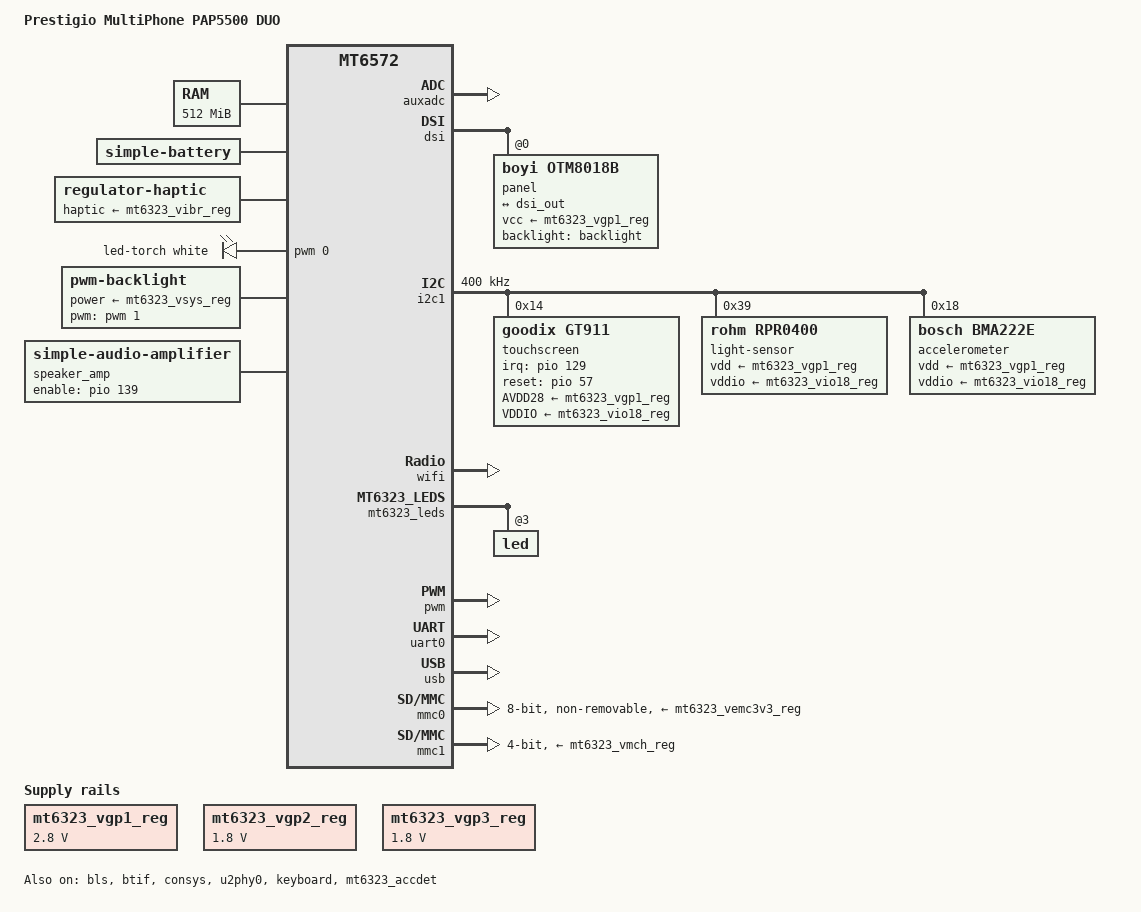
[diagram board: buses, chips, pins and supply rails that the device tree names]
// SPDX-License-Identifier: GPL-2.0
/*
 * Copyright (c) 2026 Custom Firmware <gabin278@gmail.com>
 */

/dts-v1/;
#include <dt-bindings/gpio/gpio.h>
#include <dt-bindings/input/input.h>
#include <dt-bindings/leds/common.h>
#include "mt6572.dtsi"
#include "mt6323.dtsi"

/ {
	model = "Prestigio MultiPhone PAP5500 DUO";
	compatible = "prestigio,pap5500-duo", "mediatek,mt6572";

	aliases {
		serial0 = &uart0;
	};

	chosen {
		stdout-path = "serial0:921600n8";
	};

	memory@80000000 {
		device_type = "memory";
		reg = <0x80000000 0x20000000>;
	};

	reserved-memory {
		#address-cells = <1>;
		#size-cells = <1>;
		ranges;

		framebuffer_reserved: framebuffer@9f800000 {
			reg = <0x9f800000 0x800000>;
			no-map;
		};

		connsys@80000000 {
			reg = <0x80000000 0x100000>;
			no-map;
		};
	};

	battery: battery {
		compatible = "simple-battery";
		charge-full-design-microamp-hours = <2000000>;
		voltage-max-design-microvolt = <4200000>;
		voltage-min-design-microvolt = <3300000>;
		ocv-capacity-celsius = <25>;
		ocv-capacity-table-0 = <4189000 100>, <4107000  95>,
				       <4063000  90>, <4018000  85>,
				       <3975000  80>, <3937000  75>,
				       <3907000  70>, <3871000  65>,
				       <3843000  60>, <3810000  55>,
				       <3787000  50>, <3781000  45>,
				       <3777000  40>, <3772000  35>,
				       <3753000  30>, <3719000  25>,
				       <3671000  20>, <3596000  15>,
				       <3536000  10>, <3493000   5>,
				       <3419000   0>;
	};

	haptic {
		compatible = "regulator-haptic";
		haptic-supply = <&mt6323_vibr_reg>;
		min-microvolt = <1200000>;
		max-microvolt = <3300000>;
	};

	pwm-leds {
		compatible = "pwm-leds";
		pinctrl-0 = <&flash_pins>;
		pinctrl-names = "default";

		led-torch {
			function = LED_FUNCTION_TORCH;
			color = <LED_COLOR_ID_WHITE>;
			pwms = <&pwm 0 31250>;
			max-brightness = <255>;
		};
	};

	backlight: backlight {
		compatible = "pwm-backlight";
		pwms = <&pwm 1 31250>;
		brightness-levels = <0 1023>;
		num-interpolated-steps = <1023>;
		default-brightness-level = <512>;
		power-supply = <&mt6323_vsys_reg>;
	};
};

&auxadc {
	status = "okay";
};

&bls {
	status = "okay";
};

&dsi {
	#address-cells = <1>;
	#size-cells = <0>;
	status = "okay";

	panel@0 {
		compatible = "boyi,otm8018b";
		reg = <0>;
		vcc-supply = <&mt6323_vgp1_reg>;
		backlight = <&backlight>;

		port {
			panel_in: endpoint {
				remote-endpoint = <&dsi_out>;
			};
		};
	};
};

&dsi_out {
	remote-endpoint = <&panel_in>;
};

&cpu0 {
	proc-supply = <&mt6323_vproc_reg>;
};

&cpu1 {
	proc-supply = <&mt6323_vproc_reg>;
};

&gpu {
	/* Switch to WHPLL */
	assigned-clocks = <&topckgen CLK_TOP_MFG_SEL>,
			  <&topckgen CLK_TOP_MFG_PRE_SEL>;
	assigned-clock-parents = <&topckgen CLK_TOP_MFG_PRE_500M>,
				 <&topckgen CLK_TOP_MFG_SEL>;

	operating-points-v2 = <&gpu_opp_table>;
};

&i2c1 {
	pinctrl-0 = <&i2c1_pins>;
	pinctrl-names = "default";
	clock-frequency = <400000>;
	status = "okay";

	/*
	 * The GT911 latches its I2C address from the INT pin level while
	 * reset is released: low selects 0x5d, high selects 0x14. INT is
	 * muxed to EINT1 here, and mtk_gpio_direction_output() only touches
	 * the GPIO DIR/DOUT registers without changing the pin mode, so the
	 * driver cannot drive the pad - the bias-pull-up below wins and the
	 * controller always comes up at 0x14. Address it where it actually
	 * is; verified by reading "915" from the product-id register 0x8140.
	 */
	touchscreen@14 {
		status = "okay";
		compatible = "goodix,gt911";
		reg = <0x14>;

		/*
		 * No interrupt: the INT pin has to stay a plain GPIO so the
		 * driver can drive it, see tpd_pins. Without a DT interrupt
		 * goodix falls back to input_setup_polling(), which is how
		 * this panel has always run here.
		 */
		irq-gpios = <&pio 129 GPIO_ACTIVE_HIGH>;
		reset-gpios = <&pio 57 GPIO_ACTIVE_HIGH>;

		AVDD28-supply = <&mt6323_vgp1_reg>;
		VDDIO-supply = <&mt6323_vio18_reg>;

		touchscreen-size-x = <480>;
		touchscreen-size-y = <854>;
		touchscreen-inverted-x;

		pinctrl-0 = <&tpd_pins>;
		pinctrl-names = "default";
	};

	light-sensor@39 {
		compatible = "rohm,rpr0400";
		reg = <0x39>;
		vdd-supply = <&mt6323_vgp1_reg>;
		vddio-supply = <&mt6323_vio18_reg>;
	};

	accelerometer@18 {
		compatible = "bosch,bma222e";
		reg = <0x18>;
		vdd-supply = <&mt6323_vgp1_reg>;
		vddio-supply = <&mt6323_vio18_reg>;
	};
};

&mt6323_vgp1_reg {
	regulator-min-microvolt = <2800000>;
	regulator-max-microvolt = <2800000>;
};

&mt6323_vgp2_reg {
	regulator-min-microvolt = <1800000>;
	regulator-max-microvolt = <1800000>;
	regulator-always-on;
	regulator-boot-on;
};

&mt6323_vgp3_reg {
	regulator-min-microvolt = <1800000>;
	regulator-max-microvolt = <1800000>;
	regulator-always-on;
	regulator-boot-on;
};

&btif {
	status = "okay";
};

&consys {
	vcn18-supply = <&mt6323_vcn18_reg>;
	vcn28-supply = <&mt6323_vcn28_reg>;
	vcn33_bt-supply = <&mt6323_vcn33_bt_reg>;
	vcn33_wifi-supply = <&mt6323_vcn33_wifi_reg>;
	status = "okay";
};

&wifi {
	status = "okay";
};

&mt6323keys {
	power-off-time-sec = <5>;
	home {
		status = "disabled";
	};
};

&mt6323_leds {
	status = "okay";

	led@3 {
		reg = <3>;
		function = LED_FUNCTION_KBD_BACKLIGHT;
		color = <LED_COLOR_ID_WHITE>;
		default-state = "off";
	};
};

/ {
	/* speaker amplifier (Yamaha YDA145), fed from the codec HP output */
	speaker_amp: audio-amplifier {
		compatible = "simple-audio-amplifier";
		pinctrl-names = "default";
		pinctrl-0 = <&speaker_amplifier_pins>;
		enable-gpios = <&pio 139 GPIO_ACTIVE_HIGH>;
		sound-name-prefix = "Speaker Amp";
	};

	sound {
		compatible = "mediatek,mt6572-mt6323-sound";
		mediatek,platform = <&afe>;
		aux-devs = <&speaker_amp>;
		audio-routing =
			"Speaker Amp INL", "HP Driver",
			"Speaker Amp INR", "HP Driver",
			"Speaker", "Speaker Amp OUTL",
			"Speaker", "Speaker Amp OUTR";
		mediatek,accdet = <&mt6323_accdet>;
	};
};

&pwm {
	pinctrl-0 = <&bl_pwm_pins>;
	pinctrl-names = "default";
	status = "okay";
};

&uart0 {
	status = "okay";
};

&usb {
	status = "okay";
};

&u2phy0 {
	status = "okay";
};

&pmic {
	pinctrl-0 = <&pmic_int_pins>;
	pinctrl-names = "default";
	interrupts = <16 IRQ_TYPE_LEVEL_HIGH>;
};


&mmc0 {
	pinctrl-0 = <&mmc0_pins>;
	pinctrl-1 = <&mmc0_pins>;
	pinctrl-names = "default", "state_uhs";
	bus-width = <8>;
	max-frequency = <50000000>;
	cap-mmc-highspeed;
	vmmc-supply = <&mt6323_vemc3v3_reg>;
	vqmmc-supply = <&mt6323_vio18_reg>;
	non-removable;
	status = "okay";
};

&mmc1 {
	pinctrl-0 = <&mmc1_pins>;
	pinctrl-1 = <&mmc1_pins>;
	pinctrl-names = "default", "state_uhs";
	bus-width = <4>;
	max-frequency = <50000000>;
	cap-sd-highspeed;
	sd-uhs-sdr12;
	sd-uhs-sdr25;
	vmmc-supply = <&mt6323_vmch_reg>;
	vqmmc-supply = <&mt6323_vmc_reg>;
	broken-cd;
	status = "okay";
};

&keyboard {
	status = "okay";
	linux,keymap = <MATRIX_KEY(0, 1, KEY_VOLUMEUP)
			MATRIX_KEY(0, 2, KEY_VOLUMEDOWN)>;
	keypad,num-rows = <1>;
	keypad,num-columns = <3>;
	debounce-delay-ms = <32>;
};

&mt6323_accdet {
	pinctrl-0 = <&jack_pins>;
	pinctrl-names = "default";

	interrupts-extended = <&pio 7 IRQ_TYPE_EDGE_BOTH>,
			      <&pmic 18 IRQ_TYPE_LEVEL_HIGH>;
	interrupt-names = "eint", "pmic";

	status = "okay";
};

&pio {
	bl_pwm_pins: bl-pwm-pins {
		pins {
			pinmux = <PINMUX_GPIO30__FUNC_PWM2>;
		};
	};

	jack_pins: jack-pins {
		pins-int {
			pinmux = <PINMUX_GPIO142__FUNC_EINT7>;
			input-debounce = <32000>;
		};
	};

	speaker_amplifier_pins: speaker-amplifier-pins {
		pins {
			pinmux = <PINMUX_GPIO139__FUNC_GPIO139>;
			output-low;
		};
	};

	pmic_int_pins: pmic-int-pins {
		pins {
			pinmux = <PINMUX_GPIO7__FUNC_PMIC_EINT>;
			input-enable;
			bias-pull-down;
		};
	};

	mmc0_pins: mmc0-pins {
		pins-clk {
			pinmux = <PINMUX_GPIO44__FUNC_MC0_CK>;
			bias-pull-down = <MTK_PUPD_SET_R1R0_10>;
		};

		pins-cmd-dat {
			pinmux = <PINMUX_GPIO45__FUNC_MC0_CMD>,
				 <PINMUX_GPIO46__FUNC_MC0_DAT0>,
				 <PINMUX_GPIO47__FUNC_MC0_DAT1>,
				 <PINMUX_GPIO48__FUNC_MC0_DAT2>,
				 <PINMUX_GPIO49__FUNC_MC0_DAT3>,
				 <PINMUX_GPIO50__FUNC_MC0_DAT4>,
				 <PINMUX_GPIO51__FUNC_MC0_DAT5>,
				 <PINMUX_GPIO52__FUNC_MC0_DAT6>,
				 <PINMUX_GPIO53__FUNC_MC0_DAT7>;
			input-enable;
			bias-pull-up = <MTK_PUPD_SET_R1R0_01>;
		};

		pins-rst {
			pinmux = <PINMUX_GPIO54__FUNC_MC0_RSTB>;
			bias-pull-up = <MTK_PUPD_SET_R1R0_10>;
		};
	};

	tpd_pins: tpd-pins {
		pins-rst {
			pinmux = <PINMUX_GPIO57__FUNC_GPIO57>;
			output-high;
		};
		/*
		 * Keep INT as a GPIO, not EINT1. mtk_pinmux_gpio_request_enable()
		 * refuses to re-mux a pin that is already sitting in its eint
		 * function, so pre-muxing to EINT1 here leaves the pad stuck in
		 * EINT mode - gpiod_direction_output() then only writes DIR/DOUT
		 * and never reaches the pad. The GT911 needs the host to drive
		 * INT to strap its I2C address and to run the power-on handshake
		 * (GT911 Programming Guide 4.1-4.3), so the pin must be drivable.
		 *
		 * No bias either: the guide requires INT to be floating with no
		 * internal pull-up or pull-down while it is an input.
		 */
		pins-int {
			pinmux = <PINMUX_GPIO129__FUNC_GPIO129>;
			input-enable;
			bias-disable;
		};
	};

	i2c1_pins: i2c1-pins {
		pins {
			pinmux = <PINMUX_GPIO113__FUNC_SCL1>,
				 <PINMUX_GPIO114__FUNC_SDA1>;
		};
	};

	flash_pins: flash-pins {
		pins {
			pinmux = <PINMUX_GPIO128__FUNC_PWM1>;
		};
	};

	mmc1_pins: mmc1-pins {
		pins-clk {
			pinmux = <PINMUX_GPIO91__FUNC_MC1_CK>;
			bias-pull-down;
			drive-strength = <8>;
		};

		pins-cmd-dat {
			pinmux = <PINMUX_GPIO92__FUNC_MC1_CMD>,
				 <PINMUX_GPIO93__FUNC_MC1_DAT0>,
				 <PINMUX_GPIO94__FUNC_MC1_DAT1>,
				 <PINMUX_GPIO95__FUNC_MC1_DAT2>,
				 <PINMUX_GPIO96__FUNC_MC1_DAT3>;
			input-enable;
			bias-pull-up;
			drive-strength = <8>;
		};
	};
};
